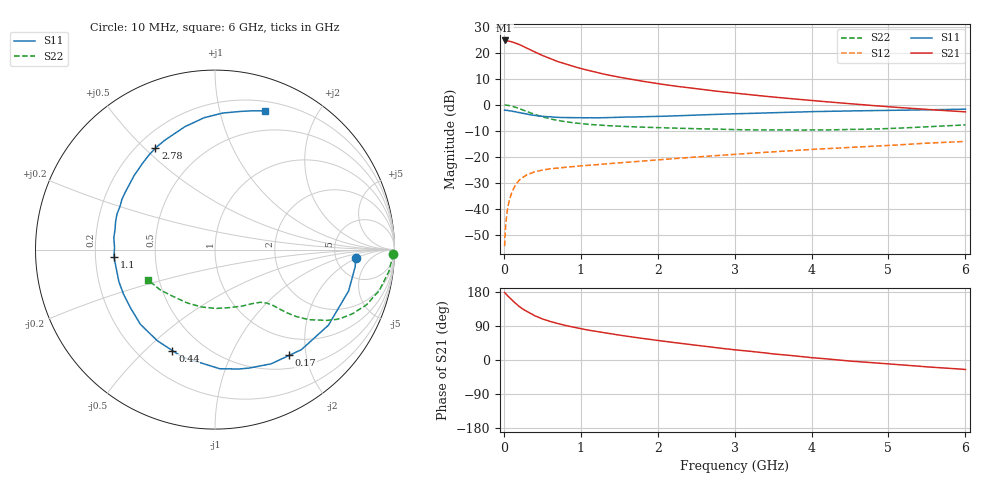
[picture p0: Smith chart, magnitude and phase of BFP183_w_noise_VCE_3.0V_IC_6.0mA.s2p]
! Infineon Technologies  Discrete & RF Semiconductors
! BFP183
! VCE = 3.0 V,  IC =  6.0 mA
! Common Emitter S-Parameters:  Jan 2016
# GHz  S  MA  R  50
!  f  S11  S21  S12  S22
! GHz  MAG  ANG  MAG  ANG  MAG  ANG  MAG  ANG
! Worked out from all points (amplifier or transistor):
!   210 points, 10 MHz to 6 GHz, reference 50 ohm
!   highest |S21| = 24.8 dB at 10 MHz (marker M1)
!   |S21| within 3 dB of that: start of sweep to 303 MHz
!   unconditionally stable (mu >= 1): 1.448 GHz to 5.652 GHz
!   at 185 MHz: K = 0.18, MSG = 26.5 dB, |S12| = -29.6 dB
!   at 1.52 GHz: K = 1.02, MAG = 15.5 dB, |S12| = -22.3 dB
!   at 6 GHz: K = 0.94, MSG = 5.7 dB, |S12| = -14.1 dB
!   lowest NFmin = 1.20 dB at 450 MHz
!   S11 on the Smith chart (normalised r, x): 10 MHz: 7.85, -1.97; 170 MHz: 0.70, -1.71; 440 MHz: 0.34, -0.61; 1.1 GHz: 0.28, -0.03; 2.78 GHz: 0.27, +0.54; 6 GHz: 0.29, +1.39
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0.01  0.7862 -3.5  17.28 178.0  0.0019 90.2  0.9909 -1.4
0.05  0.7793 -17.2  17.04 169.3  0.0103 83.1  0.9767 -7.1
0.1  0.7595 -33.7  16.34 159.2  0.0199 72.6  0.9434 -14.0
0.15  0.7365 -49.2  15.43 149.8  0.0283 65.8  0.8986 -20.0
0.17  0.7199 -54.9  15.02 146.5  0.0311 63.3  0.8766 -21.9
0.2  0.7091 -63.8  14.5 141.2  0.0353 60.2  0.8457 -25.0
0.26  0.6787 -78.6  13.11 132.7  0.0412 53.8  0.7802 -29.9
0.4  0.6261 -106.8  10.43 116.9  0.0512 44.2  0.6536 -36.7
0.44  0.6106 -112.9  9.79 113.8  0.0528 42.4  0.6266 -37.7
0.5  0.6009 -122.4  8.898 108.4  0.0552 39.8  0.5866 -39.5
0.6  0.5883 -134.8  7.788 101.8  0.0585 37.3  0.5358 -41.2
0.7  0.5727 -144.8  6.793 96.3  0.0604 35.4  0.499 -42.3
0.8  0.567 -154.0  6.099 91.1  0.0625 34.2  0.4727 -43.1
1.02  0.5607 -170.5  4.9 81.9  0.067 33.3  0.431 -44.9
1.1  0.5642 -175.7  4.579 78.7  0.0684 33.6  0.4199 -45.5
1.5  0.5755 164.2  3.396 65.6  0.0762 33.8  0.3858 -49.5
2.02  0.598 143.4  2.523 51.1  0.0875 34.7  0.3619 -57.0
2.78  0.6551 120.5  1.816 31.9  0.1055 34.0  0.3379 -71.8
3.1  0.6752 112.5  1.615 25.0  0.1139 33.4  0.3304 -79.1
4.1  0.7411 93.1  1.174 4.6  0.1407 29.2  0.3279 -106.0
5.1  0.7833 79.4  0.893 -11.8  0.1678 24.6  0.353 -133.4
6  0.822 70.0  0.73 -25.0  0.1969 17.5  0.4096 -155.6
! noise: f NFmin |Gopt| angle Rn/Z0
0.45  1.2  0.21  41  0.24
0.9  1.25  0.24  101  0.21
1.8  2  0.32  175  0.14
